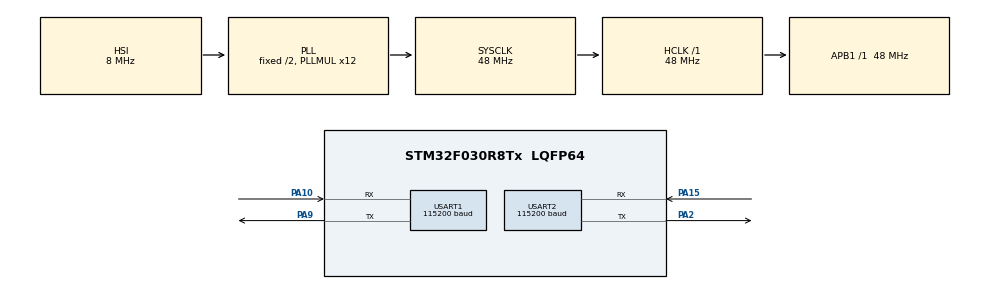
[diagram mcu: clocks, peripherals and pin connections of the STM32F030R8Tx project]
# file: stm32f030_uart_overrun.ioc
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Mcu.Family=STM32F0
Mcu.Name=STM32F030R8Tx
Mcu.Package=LQFP64
NVIC.USART1_IRQn=true\:1\:0\:true\:false\:true\:true\:true
NVIC.USART2_IRQn=true\:1\:0\:true\:false\:true\:true\:true
PA10.GPIO_PuPd=GPIO_PULLUP
PA10.Mode=Asynchronous
PA10.Signal=USART1_RX
PA13.Mode=Serial_Wire
PA13.Signal=SYS_SWDIO
PA14.Mode=Serial_Wire
PA14.Signal=SYS_SWCLK
PA15.GPIO_PuPd=GPIO_PULLUP
PA15.Mode=Asynchronous
PA15.Signal=USART2_RX
PA2.GPIO_PuPd=GPIO_PULLUP
PA2.Mode=Asynchronous
PA2.Signal=USART2_TX
PA9.GPIO_PuPd=GPIO_PULLUP
PA9.Mode=Asynchronous
PA9.Signal=USART1_TX
ProjectManager.HeapSize=0x200
ProjectManager.StackSize=0x400
ProjectManager.TargetToolchain=EWARM V8
RCC.AHBFreq_Value=48000000
RCC.APB1Freq_Value=48000000
RCC.APB1TimFreq_Value=48000000
RCC.HCLKFreq_Value=48000000
RCC.PLLMUL=RCC_PLL_MUL12
RCC.SYSCLKFreq_VALUE=48000000
RCC.SYSCLKSource=RCC_SYSCLKSOURCE_PLLCLK
USART1.BaudRate=115200
USART1.OverrunDisableParam=ADVFEATURE_OVERRUN_ENABLE
USART1.VirtualMode-Asynchronous=VM_ASYNC
USART2.BaudRate=115200
USART2.VirtualMode-Asynchronous=VM_ASYNC
board=custom

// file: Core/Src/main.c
/* USER CODE BEGIN Header */
/**
  ******************************************************************************
  * @file           : main.c
  * @brief          : Main program body
  ******************************************************************************
  * @attention
  *
  * <h2><center>&copy; Copyright (c) 2020 STMicroelectronics.
  * All rights reserved.</center></h2>
  *
  * This software component is licensed by ST under BSD 3-Clause license,
  * the "License"; You may not use this file except in compliance with the
  * License. You may obtain a copy of the License at:
  *                        opensource.org/licenses/BSD-3-Clause
  *
  ******************************************************************************
  */
/* USER CODE END Header */

#include "main.h"
#include "usart.h"
#include "gpio.h"

/* USER CODE BEGIN Includes */
#include <string.h>
/* USER CODE END Includes */

void SystemClock_Config(void);

/* USER CODE BEGIN 0 */
/* Size of Trasmission buffer */
#define TXBUFFERSIZE                      (COUNTOF(aTxBuffer1) - 1)
/* Size of Reception buffer */
#define RXBUFFERSIZE                      TXBUFFERSIZE

/* Exported macro ------------------------------------------------------------*/
#define COUNTOF(__BUFFER__)   (sizeof(__BUFFER__) / sizeof(*(__BUFFER__)))
/* Exported functions ------------------------------------------------------- */

uint8_t aTxBuffer1[] = " ****UART_TwoBoards_ComIT****  ****UART_TwoBoards_ComIT****  ****UART_TwoBoards_ComIT**** ";
uint8_t aRxBuffer1[RXBUFFERSIZE];

/* Buffer used for reception */
uint8_t aRxBuffer2[RXBUFFERSIZE];
uint8_t aTxBuffer2[RXBUFFERSIZE];

static int tx1 = 0;
static int rx1 = 0;
static int tx2 = 0;
static int rx2 = 0;

static int tx1c = 0;
static int rx1c = 0;
static int tx2c = 0;
static int rx2c = 0;

static int err1 = 0;
static int err2 = 0;

/* USER CODE END 0 */

int main(void)
{

  /* MCU Configuration--------------------------------------------------------*/

  /* Reset of all peripherals, Initializes the Flash interface and the Systick. */
  HAL_Init();

  /* Configure the system clock */
  SystemClock_Config();

  /* Initialize all configured peripherals */
  MX_GPIO_Init();
  MX_USART1_UART_Init();
  MX_USART2_UART_Init();
  /* USER CODE BEGIN 2 */
  HAL_Delay(100);

  if(HAL_UART_Receive_IT(&huart2, (uint8_t *)&aRxBuffer2[0], RXBUFFERSIZE) != HAL_OK)
  {
    Error_Handler();
  }

  if(HAL_UART_Transmit_IT(&huart1, (uint8_t*)&aTxBuffer1[0], TXBUFFERSIZE)!= HAL_OK)
  {
    Error_Handler();
  }
  /* USER CODE END 2 */

  /* Infinite loop */
  /* USER CODE BEGIN WHILE */
  while (1)
  {
    if(tx1 > 0)
    {
      tx1 = 0;
      memset(&aRxBuffer1[0], 0x00, RXBUFFERSIZE);
      if(HAL_UART_Receive_IT(&huart1, (uint8_t *)&aRxBuffer1[0], RXBUFFERSIZE) != HAL_OK)
      {
        Error_Handler();
      }
    }

    if(tx2 > 0)
    {
      tx2 = 0;
      memset(&aRxBuffer2[0], 0x00, RXBUFFERSIZE);
      if(HAL_UART_Receive_IT(&huart2, (uint8_t *)&aRxBuffer2[0], RXBUFFERSIZE) != HAL_OK)
      {
        Error_Handler();
      }
    }

    if(rx1 > 0)
    {
      rx1 = 0;
      memcpy(&aTxBuffer1[0], &aRxBuffer1[0], RXBUFFERSIZE);
      if(HAL_UART_Transmit_IT(&huart1, (uint8_t*)&aTxBuffer1[0], TXBUFFERSIZE)!= HAL_OK)
      {
        Error_Handler();
      }
    }

    if(rx2 > 0)
    {
      rx2 = 0;
      memcpy(&aTxBuffer2[0], &aRxBuffer2[0], RXBUFFERSIZE);
      if(HAL_UART_Transmit_IT(&huart2, (uint8_t*)&aTxBuffer2[0], TXBUFFERSIZE)!= HAL_OK)
      {
        Error_Handler();
      }
    }

    if((err1 > 0)|| (err2 > 0))
    {
      err1 = 0;
      err2 = 0;

      MX_USART1_UART_Init();
      MX_USART2_UART_Init();

      HAL_Delay(1);

      if(HAL_UART_Receive_IT(&huart2, (uint8_t *)&aRxBuffer2[0], RXBUFFERSIZE) != HAL_OK)
      {
        Error_Handler();
      }

      if(HAL_UART_Transmit_IT(&huart1, (uint8_t*)&aTxBuffer1[0], TXBUFFERSIZE)!= HAL_OK)
      {
        Error_Handler();
      }
    }
    /* USER CODE END WHILE */

  }
}

void SystemClock_Config(void)
{
  RCC_OscInitTypeDef RCC_OscInitStruct = {0};
  RCC_ClkInitTypeDef RCC_ClkInitStruct = {0};
  RCC_PeriphCLKInitTypeDef PeriphClkInit = {0};

  /** Initializes the CPU, AHB and APB busses clocks
  */
  RCC_OscInitStruct.OscillatorType = RCC_OSCILLATORTYPE_HSI;
  RCC_OscInitStruct.HSIState = RCC_HSI_ON;
  RCC_OscInitStruct.HSICalibrationValue = RCC_HSICALIBRATION_DEFAULT;
  RCC_OscInitStruct.PLL.PLLState = RCC_PLL_ON;
  RCC_OscInitStruct.PLL.PLLSource = RCC_PLLSOURCE_HSI;
  RCC_OscInitStruct.PLL.PLLMUL = RCC_PLL_MUL12;
  RCC_OscInitStruct.PLL.PREDIV = RCC_PREDIV_DIV1;
  if (HAL_RCC_OscConfig(&RCC_OscInitStruct) != HAL_OK)
  {
    Error_Handler();
  }
  /** Initializes the CPU, AHB and APB busses clocks
  */
  RCC_ClkInitStruct.ClockType = RCC_CLOCKTYPE_HCLK|RCC_CLOCKTYPE_SYSCLK
                              |RCC_CLOCKTYPE_PCLK1;
  RCC_ClkInitStruct.SYSCLKSource = RCC_SYSCLKSOURCE_PLLCLK;
  RCC_ClkInitStruct.AHBCLKDivider = RCC_SYSCLK_DIV1;
  RCC_ClkInitStruct.APB1CLKDivider = RCC_HCLK_DIV1;

  if (HAL_RCC_ClockConfig(&RCC_ClkInitStruct, FLASH_LATENCY_1) != HAL_OK)
  {
    Error_Handler();
  }
  PeriphClkInit.PeriphClockSelection = RCC_PERIPHCLK_USART1;
  PeriphClkInit.Usart1ClockSelection = RCC_USART1CLKSOURCE_PCLK1;
  if (HAL_RCCEx_PeriphCLKConfig(&PeriphClkInit) != HAL_OK)
  {
    Error_Handler();
  }
}

/* USER CODE BEGIN 4 */
void HAL_UART_TxCpltCallback(UART_HandleTypeDef *huart)
{
  if(huart == &huart1)
  {
    tx1++;
    tx1c++;
  }
  else if(huart == &huart2)
  {
    tx2++;
    tx2c++;
  }
}

void HAL_UART_RxCpltCallback(UART_HandleTypeDef *huart)
{
  if(huart == &huart1)
  {
    rx1++;
    rx1c++;
  }
  else if(huart == &huart2)
  {
    rx2++;
    rx2c++;
  }
}

void HAL_UART_ErrorCallback(UART_HandleTypeDef *huart)
{
  if(huart == &huart1)
  {
    err1++;
  }
  else if(huart == &huart2)
  {
    err2++;
  }

  if(HAL_UART_DeInit(&huart1) != HAL_OK)
  {
    Error_Handler();
  }

  if(HAL_UART_DeInit(&huart2) != HAL_OK)
  {
    Error_Handler();
  }
}
/* USER CODE END 4 */

void Error_Handler(void)
{
  /* USER CODE BEGIN Error_Handler_Debug */
  /* User can add his own implementation to report the HAL error return state */
  while(1);
  /* USER CODE END Error_Handler_Debug */
}

/************************ (C) COPYRIGHT STMicroelectronics *****END OF FILE****/
